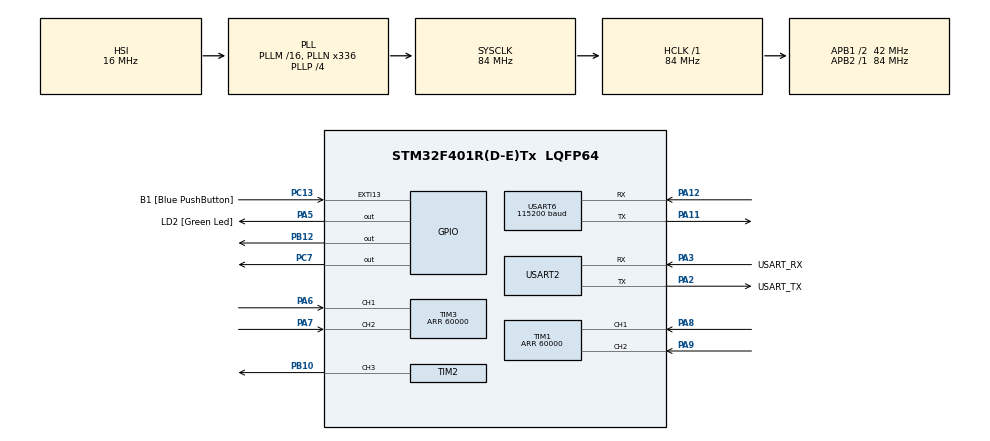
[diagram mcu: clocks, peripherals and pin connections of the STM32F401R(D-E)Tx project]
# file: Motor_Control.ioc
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Dma.Request0=USART2_RX
Dma.Request1=USART6_RX
Dma.USART2_RX.0.Direction=DMA_PERIPH_TO_MEMORY
Dma.USART2_RX.0.FIFOMode=DMA_FIFOMODE_DISABLE
Dma.USART2_RX.0.Instance=DMA1_Stream5
Dma.USART2_RX.0.MemDataAlignment=DMA_MDATAALIGN_BYTE
Dma.USART2_RX.0.MemInc=DMA_MINC_ENABLE
Dma.USART2_RX.0.Mode=DMA_NORMAL
Dma.USART2_RX.0.PeriphDataAlignment=DMA_PDATAALIGN_BYTE
Dma.USART2_RX.0.PeriphInc=DMA_PINC_DISABLE
Dma.USART2_RX.0.Priority=DMA_PRIORITY_LOW
Dma.USART6_RX.1.Direction=DMA_PERIPH_TO_MEMORY
Dma.USART6_RX.1.FIFOMode=DMA_FIFOMODE_DISABLE
Dma.USART6_RX.1.Instance=DMA2_Stream1
Dma.USART6_RX.1.MemDataAlignment=DMA_MDATAALIGN_BYTE
Dma.USART6_RX.1.MemInc=DMA_MINC_ENABLE
Dma.USART6_RX.1.Mode=DMA_CIRCULAR
Dma.USART6_RX.1.PeriphDataAlignment=DMA_PDATAALIGN_BYTE
Dma.USART6_RX.1.PeriphInc=DMA_PINC_DISABLE
Dma.USART6_RX.1.Priority=DMA_PRIORITY_LOW
Mcu.Family=STM32F4
Mcu.Name=STM32F401R(D-E)Tx
Mcu.Package=LQFP64
NVIC.DMA1_Stream5_IRQn=true\:0\:0\:false\:false\:true\:false
NVIC.DMA2_Stream1_IRQn=true\:0\:0\:false\:false\:true\:false
NVIC.EXTI15_10_IRQn=true\:0\:0\:false\:false\:true\:true
NVIC.PriorityGroup=NVIC_PRIORITYGROUP_0
NVIC.TIM1_BRK_TIM9_IRQn=true\:0\:0\:false\:false\:true\:true
NVIC.USART6_IRQn=true\:0\:0\:false\:false\:true\:true
PA11.Mode=Asynchronous
PA11.Signal=USART6_TX
PA12.Mode=Asynchronous
PA12.Signal=USART6_RX
PA13.GPIO_Label=TMS
PA13.Mode=Serial_Wire
PA13.Signal=SYS_JTMS-SWDIO
PA14.GPIO_Label=TCK
PA14.Mode=Serial_Wire
PA14.Signal=SYS_JTCK-SWCLK
PA2.GPIO_Label=USART_TX
PA2.GPIO_Mode=GPIO_MODE_AF_PP
PA2.GPIO_PuPd=GPIO_NOPULL
PA2.GPIO_Speed=GPIO_SPEED_FREQ_LOW
PA2.Mode=Asynchronous
PA2.Signal=USART2_TX
PA3.GPIO_Label=USART_RX
PA3.GPIO_Mode=GPIO_MODE_AF_PP
PA3.GPIO_PuPd=GPIO_NOPULL
PA3.GPIO_Speed=GPIO_SPEED_FREQ_LOW
PA3.Mode=Asynchronous
PA3.Signal=USART2_RX
PA5.GPIO_Label=LD2 [Green Led]
PA5.GPIO_Mode=GPIO_MODE_OUTPUT_PP
PA5.GPIO_PuPd=GPIO_NOPULL
PA5.GPIO_Speed=GPIO_SPEED_FREQ_LOW
PA5.Signal=GPIO_Output
PA6.Signal=S_TIM3_CH1
PA7.Signal=S_TIM3_CH2
PA8.Signal=S_TIM1_CH1
PA9.Signal=S_TIM1_CH2
PB10.Signal=S_TIM2_CH3
PB12.Signal=GPIO_Output
PB3.GPIO_Label=SWO
PB3.Signal=SYS_JTDO-SWO
PC13-ANTI_TAMP.GPIO_Label=B1 [Blue PushButton]
PC13-ANTI_TAMP.GPIO_ModeDefaultEXTI=GPIO_MODE_IT_FALLING
PC13-ANTI_TAMP.GPIO_PuPd=GPIO_NOPULL
PC13-ANTI_TAMP.Signal=GPXTI13
PC14-OSC32_IN.Mode=LSE-External-Oscillator
PC14-OSC32_IN.Signal=RCC_OSC32_IN
PC15-OSC32_OUT.Mode=LSE-External-Oscillator
PC15-OSC32_OUT.Signal=RCC_OSC32_OUT
PC7.Signal=GPIO_Output
PH0\ -\ OSC_IN.Mode=HSE-External-Clock-Source
PH0\ -\ OSC_IN.Signal=RCC_OSC_IN
PH1\ -\ OSC_OUT.Mode=HSE-External-Clock-Source
PH1\ -\ OSC_OUT.Signal=RCC_OSC_OUT
ProjectManager.HeapSize=0x200
ProjectManager.StackSize=0x400
ProjectManager.TargetToolchain=EWARM
RCC.48MHZClocksFreq_Value=48000000
RCC.AHBFreq_Value=84000000
RCC.APB1CLKDivider=RCC_HCLK_DIV2
RCC.APB1Freq_Value=42000000
RCC.APB1TimFreq_Value=84000000
RCC.APB2Freq_Value=84000000
RCC.APB2TimFreq_Value=84000000
RCC.CortexFreq_Value=84000000
RCC.HCLKFreq_Value=84000000
RCC.HSE_VALUE=8000000
RCC.HSI_VALUE=16000000
RCC.PLLN=336
RCC.PLLP=RCC_PLLP_DIV4
RCC.PLLQ=7
RCC.SYSCLKFreq_VALUE=84000000
RCC.SYSCLKSource=RCC_SYSCLKSOURCE_PLLCLK
RCC.VCOOutputFreq_Value=336000000
SH.S_TIM1_CH1.0=TIM1_CH1,Encoder_Interface
SH.S_TIM1_CH2.0=TIM1_CH2,Encoder_Interface
SH.S_TIM2_CH3.0=TIM2_CH3,PWM Generation3 CH3
SH.S_TIM3_CH1.0=TIM3_CH1,Encoder_Interface
SH.S_TIM3_CH2.0=TIM3_CH2,Encoder_Interface
TIM1.EncoderMode=TIM_ENCODERMODE_TI12
TIM1.Period=60000
TIM2.Channel-PWM\ Generation3\ CH3=TIM_CHANNEL_3
TIM2.Period=4200-1
TIM3.EncoderMode=TIM_ENCODERMODE_TI1
TIM3.Period=60000
TIM9.Period=100-1
TIM9.Prescaler=839
USART2.VirtualMode=VM_ASYNC
USART6.BaudRate=115200
USART6.OverSampling=UART_OVERSAMPLING_8
USART6.VirtualMode=VM_ASYNC
VP_TIM9_VS_ClockSourceINT.Mode=Internal
board=NUCLEO-F401RE

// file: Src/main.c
/**
  ******************************************************************************
  * @file           : main.c
  * @brief          : Main program body
  ******************************************************************************
  ** This notice applies to any and all portions of this file
  * that are not between comment pairs USER CODE BEGIN and
  * USER CODE END. Other portions of this file, whether
  * inserted by the user or by software development tools
  * are owned by their respective copyright owners.
  *
  * COPYRIGHT(c) 2020 STMicroelectronics
  *
  * Redistribution and use in source and binary forms, with or without modification,
  * are permitted provided that the following conditions are met:
  *   1. Redistributions of source code must retain the above copyright notice,
  *      this list of conditions and the following disclaimer.
  *   2. Redistributions in binary form must reproduce the above copyright notice,
  *      this list of conditions and the following disclaimer in the documentation
  *      and/or other materials provided with the distribution.
  *   3. Neither the name of STMicroelectronics nor the names of its contributors
  *      may be used to endorse or promote products derived from this software
  *      without specific prior written permission.
  *
  * THIS SOFTWARE IS PROVIDED BY THE COPYRIGHT HOLDERS AND CONTRIBUTORS "AS IS"
  * AND ANY EXPRESS OR IMPLIED WARRANTIES, INCLUDING, BUT NOT LIMITED TO, THE
  * IMPLIED WARRANTIES OF MERCHANTABILITY AND FITNESS FOR A PARTICULAR PURPOSE ARE
  * DISCLAIMED. IN NO EVENT SHALL THE COPYRIGHT HOLDER OR CONTRIBUTORS BE LIABLE
  * FOR ANY DIRECT, INDIRECT, INCIDENTAL, SPECIAL, EXEMPLARY, OR CONSEQUENTIAL
  * DAMAGES (INCLUDING, BUT NOT LIMITED TO, PROCUREMENT OF SUBSTITUTE GOODS OR
  * SERVICES; LOSS OF USE, DATA, OR PROFITS; OR BUSINESS INTERRUPTION) HOWEVER
  * CAUSED AND ON ANY THEORY OF LIABILITY, WHETHER IN CONTRACT, STRICT LIABILITY,
  * OR TORT (INCLUDING NEGLIGENCE OR OTHERWISE) ARISING IN ANY WAY OUT OF THE USE
  * OF THIS SOFTWARE, EVEN IF ADVISED OF THE POSSIBILITY OF SUCH DAMAGE.
  *
  ******************************************************************************
  */
#include "main.h"
#include "stm32f4xx_hal.h"

/* USER CODE BEGIN Includes */
#include "stdio.h"
#include "stdlib.h"
#include "math.h"
#define RX_BUFFER_SIZE 40
#define PI 3.141592
#define MAF_SIZE 20
#define dt 0.01
/* USER CODE END Includes */

TIM_HandleTypeDef htim1;
TIM_HandleTypeDef htim2;
TIM_HandleTypeDef htim3;
TIM_HandleTypeDef htim9;

UART_HandleTypeDef huart2;
UART_HandleTypeDef huart6;
DMA_HandleTypeDef hdma_usart2_rx;
DMA_HandleTypeDef hdma_usart6_rx;

/* USER CODE BEGIN PV */
/* Private variables ---------------------------------------------------------*/
int cnt;
int clock;
uint16_t Motor_CCR;

int32_t motor_encoder1;
int32_t motor_encoder2;
int32_t mencoder1;
int32_t mencoder2;

int32_t rotary_encoder1;
int32_t rotary_encoder2;
int32_t rencoder1;
int32_t rencoder2;

int32_t pre_encoder = 30000;

double a,b,c,d,e;
double angle, angle1;
int iangle, iangle1;
int motor_angle;
double move_angle;
//double control_angle;
int imove_angle;
int Kp = 10;
double Kd = 2;
int dir;
double error, pre_error;
char s1[2];
char s2[2];
uint8_t tx_buffer[];
uint8_t rx_buffer[RX_BUFFER_SIZE];
uint8_t tx_len;

double velo, angu, mov_velo, mov_angu;
int ivelo,iangu,imov_velo, imov_angu;

double alpha = 0.95;

double ccr;
int iccr;

char velocity[8];
char angluar[8];

double dvelocity, dangluar;
int ivelocity, iangluar;
int wow, write_velocity;

int com1, com2, com3, com4;

double g_rawData[MAF_SIZE] = {0,};
double g_SUM_Data = 0;
double g_MAF_Data = 0;
int g_MAF_CNT  = 0;
int ig_MAF;
/* USER CODE END PV */

void SystemClock_Config(void);
static void MX_GPIO_Init(void);
static void MX_DMA_Init(void);
static void MX_USART2_UART_Init(void);
static void MX_TIM9_Init(void);
static void MX_TIM3_Init(void);
static void MX_TIM1_Init(void);
static void MX_TIM2_Init(void);
static void MX_USART6_UART_Init(void);

void HAL_TIM_MspPostInit(TIM_HandleTypeDef *htim);

/* USER CODE BEGIN PFP */
/* Private function prototypes -----------------------------------------------*/

/* USER CODE END PFP */

/* USER CODE BEGIN 0 */
void Motor_Control(int desired_angle)
{
  angle = (4704/360)*desired_angle + 30000;
  iangle = (int)angle;
  error = angle - mencoder1;
  motor_angle = (int)((mencoder1 - 30000)*(360/4704));
  move_angle = Kp*error + Kd*(error - pre_error)/dt;
  imove_angle = (int)move_angle;
  if(move_angle > 0)
  {
    dir = 1;
    Motor_CCR = (uint16_t)(move_angle);
    HAL_GPIO_WritePin(GPIOC, GPIO_PIN_7, GPIO_PIN_SET);
  }
  else
  {
    dir = -1;
    Motor_CCR = -(uint16_t)(move_angle);
    HAL_GPIO_WritePin(GPIOC, GPIO_PIN_7, GPIO_PIN_RESET);
  }
  pre_error = error;
}
/*int another_motor()
{
  double desired_angle = (double)(encoder1-30000)/(414/360);

  return (int)desired_angle;
}*/

void HAL_GPIO_EXTI_Callback(uint16_t GPIO_Pin)
{
  if(GPIO_Pin == GPIO_PIN_13)
  {
    clock++;
    if(clock%2 == 1)
      write_velocity = 54;
    else
      write_velocity = 0;
  }
}

void VelocityR()
{
  //톱니 지름 103mm 제어주기 10ms 10000당 1바퀴
  velo = rencoder1 - 30000; // error값
  velo = (velo/20000)*360*(PI/180); // 각도값
  velo = (velo*(77/2))/dt; // 속도 mm/s
  ivelo = (int)velo;
}

void angluarR()
{
  //톱니 지름 103mm 제어주기 10ms 10000당 1바퀴
  angu = rencoder1 - 30000; // error값
  angu = (angu/20000)*360*(PI/180); // 각도값
  angu = (angu)/dt; // 각속도 rad/s
  iangu = (int)angu;
}

double MAF(double adc)										//Moving Average Filter 함수
{
  g_MAF_CNT = (g_MAF_CNT+1)% MAF_SIZE ;				//CNT값을 MAF_SIZE 크기 만큼 1씩 증가시키기
  g_rawData[g_MAF_CNT] = adc;							//MAF_SIZE 크기 배열에 가변저항 값 저장하기
  g_SUM_Data = 0;
  for(int i=0; i<MAF_SIZE; i++)
    g_SUM_Data += g_rawData[i];						//각 값들을 모두 더하기
  g_MAF_Data = g_SUM_Data / MAF_SIZE;					//MAF_SIZE만큼 나누기
  return g_MAF_Data;
}

/*void VelocityM()
{
  //톱니 지름 103mm 제어주기 10ms 4704당 1바퀴
  mvelo = mencoder1 - 30000; // error값
  mvelo = (mvelo/4704)*360*(PI/180); // 각도값
  mvelo = (mvelo*(77/2))/0.03; // 속도 mm/s
  imvelo = (int)mvelo;
}*/

void VelocityAngle()
{
  HAL_UART_Receive_DMA(&huart6, rx_buffer, RX_BUFFER_SIZE);
  if(rx_buffer[0] != 'x')
  {
    for(int i = 0; i < RX_BUFFER_SIZE - 1; i++)
      rx_buffer[i] = 0;
  }
  for(int i = 0; i < RX_BUFFER_SIZE-1; i++)
  {
    if((rx_buffer[i] == ':')&&(com1 == 0)) com1 = i;
    if((rx_buffer[i] == 'z')&&(com1 != 0)&&(com2 == 0)) com2 = i;
    if((rx_buffer[i] == ':')&&(com1 != 0)&&(com2 != 0)&&(com3 == 0)) com3 = i;
    if((rx_buffer[i] == '\n')&&(com1 != 0)&&(com2 != 0)&&(com3 != 0)&&(com4 == 0)) com4 = i;
  }
  for(int i = com1 + 1; i < com2 ;i++)
    velocity[i - com1 - 1] = rx_buffer[i];
  dvelocity = atof(velocity);
  ivelocity = atoi(velocity);
  for(int i = com3 + 1; i < com4; i++)
    angluar[i - com3 - 1] = rx_buffer[i];
  dangluar = atof(angluar);
  iangluar = atoi(angluar);
  com1 = 0; com2 = 0; com3 = 0; com4 = 0;
}

int followVelocity(int x)
{
  a = -6.572923566*pow(10,-4);
  b = 0.0765157041;
  c = -2.81461746;
  d = 107.2262826;

  ccr = a*pow(x,4) + b*pow(x,3) + c*pow(x,2) + d*x;
  iccr = (int)ccr;

  return iccr;
}

void SpeedControlL()
{

}

void HAL_TIM_PeriodElapsedCallback(TIM_HandleTypeDef *htim)
{
  if(htim == &htim9)
  {
    cnt++;
    TIM2->CCR3 = Motor_CCR;

    //HAL_GPIO_WritePin(GPIOC, GPIO_PIN_6, GPIO_PIN_SET);
    //HAL_GPIO_WritePin(GPIOC, GPIO_PIN_7, GPIO_PIN_SET);

    rotary_encoder1 = TIM1->CNT;

    if(rotary_encoder1 < 30000)
      rencoder1 = 30000 + rotary_encoder1;
    else
      rencoder1 = rotary_encoder1 - 30000;

    if(cnt == 10)
    {
      //Motor_Control(rotary_encoder());

      VelocityR();
      angluarR();
      sprintf(s1, "%d", ivelo);
      for(int i = 0 ; i < 2; i++)
        tx_buffer[i] = s1[i];

      //mov_velo = MAF(velo);
      //imov_velo = (int)mov_velo;

      /*tx_buffer[2] = ',';
      tx_buffer[3] = ' ';
      sprintf(s2, "%d", imov_velo);
      for(int i = 0 ; i < 2; i++)
        tx_buffer[i+4] = s2[i];
      tx_buffer[6] = '\n';*/

      HAL_UART_Transmit(&huart6, tx_buffer,7,HAL_MAX_DELAY);
      //mov_angu = MAF(angu);
      //imov_angu = (int)mov_angu;
      //VelocityM();

      if(velocity > 0){
        HAL_GPIO_WritePin(GPIOC, GPIO_PIN_7, GPIO_PIN_RESET);
        Motor_CCR = followVelocity(write_velocity);
      }
      else{
        HAL_GPIO_WritePin(GPIOC, GPIO_PIN_7, GPIO_PIN_SET);
        Motor_CCR = followVelocity(-write_velocity);
      }

      TIM1->CNT = 0;
      cnt = 0;
    }
  }
}
/* USER CODE END 0 */

int main(void)
{

  /* MCU Configuration----------------------------------------------------------*/

  /* Reset of all peripherals, Initializes the Flash interface and the Systick. */
  HAL_Init();

  /* Configure the system clock */
  SystemClock_Config();

  /* Initialize all configured peripherals */
  MX_GPIO_Init();
  MX_DMA_Init();
  MX_USART2_UART_Init();
  MX_TIM9_Init();
  MX_TIM3_Init();
  MX_TIM1_Init();
  MX_TIM2_Init();
  MX_USART6_UART_Init();
  /* USER CODE BEGIN 2 */
  HAL_TIM_Base_Start_IT(&htim9);

  HAL_TIM_PWM_Start(&htim2, TIM_CHANNEL_3);
  HAL_TIMEx_PWMN_Start(&htim2, TIM_CHANNEL_3);

  HAL_TIM_Encoder_Start(&htim1, TIM_CHANNEL_ALL);

  /* USER CODE END 2 */

  /* Infinite loop */
  while (1)
  {

  }

}

void SystemClock_Config(void)
{

  RCC_OscInitTypeDef RCC_OscInitStruct;
  RCC_ClkInitTypeDef RCC_ClkInitStruct;

    /**Configure the main internal regulator output voltage
    */
  __HAL_RCC_PWR_CLK_ENABLE();

  __HAL_PWR_VOLTAGESCALING_CONFIG(PWR_REGULATOR_VOLTAGE_SCALE2);

    /**Initializes the CPU, AHB and APB busses clocks
    */
  RCC_OscInitStruct.OscillatorType = RCC_OSCILLATORTYPE_HSI;
  RCC_OscInitStruct.HSIState = RCC_HSI_ON;
  RCC_OscInitStruct.HSICalibrationValue = 16;
  RCC_OscInitStruct.PLL.PLLState = RCC_PLL_ON;
  RCC_OscInitStruct.PLL.PLLSource = RCC_PLLSOURCE_HSI;
  RCC_OscInitStruct.PLL.PLLM = 16;
  RCC_OscInitStruct.PLL.PLLN = 336;
  RCC_OscInitStruct.PLL.PLLP = RCC_PLLP_DIV4;
  RCC_OscInitStruct.PLL.PLLQ = 7;
  if (HAL_RCC_OscConfig(&RCC_OscInitStruct) != HAL_OK)
  {
    _Error_Handler(__FILE__, __LINE__);
  }

    /**Initializes the CPU, AHB and APB busses clocks
    */
  RCC_ClkInitStruct.ClockType = RCC_CLOCKTYPE_HCLK|RCC_CLOCKTYPE_SYSCLK
                              |RCC_CLOCKTYPE_PCLK1|RCC_CLOCKTYPE_PCLK2;
  RCC_ClkInitStruct.SYSCLKSource = RCC_SYSCLKSOURCE_PLLCLK;
  RCC_ClkInitStruct.AHBCLKDivider = RCC_SYSCLK_DIV1;
  RCC_ClkInitStruct.APB1CLKDivider = RCC_HCLK_DIV2;
  RCC_ClkInitStruct.APB2CLKDivider = RCC_HCLK_DIV1;

  if (HAL_RCC_ClockConfig(&RCC_ClkInitStruct, FLASH_LATENCY_2) != HAL_OK)
  {
    _Error_Handler(__FILE__, __LINE__);
  }

    /**Configure the Systick interrupt time
    */
  HAL_SYSTICK_Config(HAL_RCC_GetHCLKFreq()/1000);

    /**Configure the Systick
    */
  HAL_SYSTICK_CLKSourceConfig(SYSTICK_CLKSOURCE_HCLK);

  /* SysTick_IRQn interrupt configuration */
  HAL_NVIC_SetPriority(SysTick_IRQn, 0, 0);
}

/* TIM1 init function */
static void MX_TIM1_Init(void)
{

  TIM_Encoder_InitTypeDef sConfig;
  TIM_MasterConfigTypeDef sMasterConfig;

  htim1.Instance = TIM1;
  htim1.Init.Prescaler = 0;
  htim1.Init.CounterMode = TIM_COUNTERMODE_UP;
  htim1.Init.Period = 60000;
  htim1.Init.ClockDivision = TIM_CLOCKDIVISION_DIV1;
  htim1.Init.RepetitionCounter = 0;
  sConfig.EncoderMode = TIM_ENCODERMODE_TI12;
  sConfig.IC1Polarity = TIM_ICPOLARITY_RISING;
  sConfig.IC1Selection = TIM_ICSELECTION_DIRECTTI;
  sConfig.IC1Prescaler = TIM_ICPSC_DIV1;
  sConfig.IC1Filter = 0;
  sConfig.IC2Polarity = TIM_ICPOLARITY_RISING;
  sConfig.IC2Selection = TIM_ICSELECTION_DIRECTTI;
  sConfig.IC2Prescaler = TIM_ICPSC_DIV1;
  sConfig.IC2Filter = 0;
  if (HAL_TIM_Encoder_Init(&htim1, &sConfig) != HAL_OK)
  {
    _Error_Handler(__FILE__, __LINE__);
  }

  sMasterConfig.MasterOutputTrigger = TIM_TRGO_RESET;
  sMasterConfig.MasterSlaveMode = TIM_MASTERSLAVEMODE_DISABLE;
  if (HAL_TIMEx_MasterConfigSynchronization(&htim1, &sMasterConfig) != HAL_OK)
  {
    _Error_Handler(__FILE__, __LINE__);
  }

}

/* TIM2 init function */
static void MX_TIM2_Init(void)
{

  TIM_MasterConfigTypeDef sMasterConfig;
  TIM_OC_InitTypeDef sConfigOC;

  htim2.Instance = TIM2;
  htim2.Init.Prescaler = 0;
  htim2.Init.CounterMode = TIM_COUNTERMODE_UP;
  htim2.Init.Period = 4200-1;
  htim2.Init.ClockDivision = TIM_CLOCKDIVISION_DIV1;
  if (HAL_TIM_PWM_Init(&htim2) != HAL_OK)
  {
    _Error_Handler(__FILE__, __LINE__);
  }

  sMasterConfig.MasterOutputTrigger = TIM_TRGO_RESET;
  sMasterConfig.MasterSlaveMode = TIM_MASTERSLAVEMODE_DISABLE;
  if (HAL_TIMEx_MasterConfigSynchronization(&htim2, &sMasterConfig) != HAL_OK)
  {
    _Error_Handler(__FILE__, __LINE__);
  }

  sConfigOC.OCMode = TIM_OCMODE_PWM1;
  sConfigOC.Pulse = 0;
  sConfigOC.OCPolarity = TIM_OCPOLARITY_HIGH;
  sConfigOC.OCFastMode = TIM_OCFAST_DISABLE;
  if (HAL_TIM_PWM_ConfigChannel(&htim2, &sConfigOC, TIM_CHANNEL_3) != HAL_OK)
  {
    _Error_Handler(__FILE__, __LINE__);
  }

  HAL_TIM_MspPostInit(&htim2);

}

/* TIM3 init function */
static void MX_TIM3_Init(void)
{

  TIM_Encoder_InitTypeDef sConfig;
  TIM_MasterConfigTypeDef sMasterConfig;

  htim3.Instance = TIM3;
  htim3.Init.Prescaler = 0;
  htim3.Init.CounterMode = TIM_COUNTERMODE_UP;
  htim3.Init.Period = 60000;
  htim3.Init.ClockDivision = TIM_CLOCKDIVISION_DIV1;
  sConfig.EncoderMode = TIM_ENCODERMODE_TI1;
  sConfig.IC1Polarity = TIM_ICPOLARITY_RISING;
  sConfig.IC1Selection = TIM_ICSELECTION_DIRECTTI;
  sConfig.IC1Prescaler = TIM_ICPSC_DIV1;
  sConfig.IC1Filter = 0;
  sConfig.IC2Polarity = TIM_ICPOLARITY_RISING;
  sConfig.IC2Selection = TIM_ICSELECTION_DIRECTTI;
  sConfig.IC2Prescaler = TIM_ICPSC_DIV1;
  sConfig.IC2Filter = 0;
  if (HAL_TIM_Encoder_Init(&htim3, &sConfig) != HAL_OK)
  {
    _Error_Handler(__FILE__, __LINE__);
  }

  sMasterConfig.MasterOutputTrigger = TIM_TRGO_RESET;
  sMasterConfig.MasterSlaveMode = TIM_MASTERSLAVEMODE_DISABLE;
  if (HAL_TIMEx_MasterConfigSynchronization(&htim3, &sMasterConfig) != HAL_OK)
  {
    _Error_Handler(__FILE__, __LINE__);
  }

}

/* TIM9 init function */
static void MX_TIM9_Init(void)
{

  TIM_ClockConfigTypeDef sClockSourceConfig;

  htim9.Instance = TIM9;
  htim9.Init.Prescaler = 839;
  htim9.Init.CounterMode = TIM_COUNTERMODE_UP;
  htim9.Init.Period = 100-1;
  htim9.Init.ClockDivision = TIM_CLOCKDIVISION_DIV1;
  if (HAL_TIM_Base_Init(&htim9) != HAL_OK)
  {
    _Error_Handler(__FILE__, __LINE__);
  }

  sClockSourceConfig.ClockSource = TIM_CLOCKSOURCE_INTERNAL;
  if (HAL_TIM_ConfigClockSource(&htim9, &sClockSourceConfig) != HAL_OK)
  {
    _Error_Handler(__FILE__, __LINE__);
  }

}

/* USART2 init function */
static void MX_USART2_UART_Init(void)
{

  huart2.Instance = USART2;
  huart2.Init.BaudRate = 115200;
  huart2.Init.WordLength = UART_WORDLENGTH_8B;
  huart2.Init.StopBits = UART_STOPBITS_1;
  huart2.Init.Parity = UART_PARITY_NONE;
  huart2.Init.Mode = UART_MODE_TX_RX;
  huart2.Init.HwFlowCtl = UART_HWCONTROL_NONE;
  huart2.Init.OverSampling = UART_OVERSAMPLING_16;
  if (HAL_UART_Init(&huart2) != HAL_OK)
  {
    _Error_Handler(__FILE__, __LINE__);
  }

}

/* USART6 init function */
static void MX_USART6_UART_Init(void)
{

  huart6.Instance = USART6;
  huart6.Init.BaudRate = 115200;
  huart6.Init.WordLength = UART_WORDLENGTH_8B;
  huart6.Init.StopBits = UART_STOPBITS_1;
  huart6.Init.Parity = UART_PARITY_NONE;
  huart6.Init.Mode = UART_MODE_TX_RX;
  huart6.Init.HwFlowCtl = UART_HWCONTROL_NONE;
  huart6.Init.OverSampling = UART_OVERSAMPLING_8;
  if (HAL_UART_Init(&huart6) != HAL_OK)
  {
    _Error_Handler(__FILE__, __LINE__);
  }

}

static void MX_DMA_Init(void)
{
  /* DMA controller clock enable */
  __HAL_RCC_DMA1_CLK_ENABLE();
  __HAL_RCC_DMA2_CLK_ENABLE();

  /* DMA interrupt init */
  /* DMA1_Stream5_IRQn interrupt configuration */
  HAL_NVIC_SetPriority(DMA1_Stream5_IRQn, 0, 0);
  HAL_NVIC_EnableIRQ(DMA1_Stream5_IRQn);
  /* DMA2_Stream1_IRQn interrupt configuration */
  HAL_NVIC_SetPriority(DMA2_Stream1_IRQn, 0, 0);
  HAL_NVIC_EnableIRQ(DMA2_Stream1_IRQn);

}

/** Configure pins as
        * Analog
        * Input
        * Output
        * EVENT_OUT
        * EXTI
*/
static void MX_GPIO_Init(void)
{

  GPIO_InitTypeDef GPIO_InitStruct;

  /* GPIO Ports Clock Enable */
  __HAL_RCC_GPIOC_CLK_ENABLE();
  __HAL_RCC_GPIOH_CLK_ENABLE();
  __HAL_RCC_GPIOA_CLK_ENABLE();
  __HAL_RCC_GPIOB_CLK_ENABLE();

  /*Configure GPIO pin Output Level */
  HAL_GPIO_WritePin(LD2_GPIO_Port, LD2_Pin, GPIO_PIN_RESET);

  /*Configure GPIO pin Output Level */
  HAL_GPIO_WritePin(GPIOB, GPIO_PIN_12, GPIO_PIN_RESET);

  /*Configure GPIO pin Output Level */
  HAL_GPIO_WritePin(GPIOC, GPIO_PIN_7, GPIO_PIN_RESET);

  /*Configure GPIO pin : B1_Pin */
  GPIO_InitStruct.Pin = B1_Pin;
  GPIO_InitStruct.Mode = GPIO_MODE_IT_FALLING;
  GPIO_InitStruct.Pull = GPIO_NOPULL;
  HAL_GPIO_Init(B1_GPIO_Port, &GPIO_InitStruct);

  /*Configure GPIO pin : LD2_Pin */
  GPIO_InitStruct.Pin = LD2_Pin;
  GPIO_InitStruct.Mode = GPIO_MODE_OUTPUT_PP;
  GPIO_InitStruct.Pull = GPIO_NOPULL;
  GPIO_InitStruct.Speed = GPIO_SPEED_FREQ_LOW;
  HAL_GPIO_Init(LD2_GPIO_Port, &GPIO_InitStruct);

  /*Configure GPIO pin : PB12 */
  GPIO_InitStruct.Pin = GPIO_PIN_12;
  GPIO_InitStruct.Mode = GPIO_MODE_OUTPUT_PP;
  GPIO_InitStruct.Pull = GPIO_NOPULL;
  GPIO_InitStruct.Speed = GPIO_SPEED_FREQ_LOW;
  HAL_GPIO_Init(GPIOB, &GPIO_InitStruct);

  /*Configure GPIO pin : PC7 */
  GPIO_InitStruct.Pin = GPIO_PIN_7;
  GPIO_InitStruct.Mode = GPIO_MODE_OUTPUT_PP;
  GPIO_InitStruct.Pull = GPIO_NOPULL;
  GPIO_InitStruct.Speed = GPIO_SPEED_FREQ_LOW;
  HAL_GPIO_Init(GPIOC, &GPIO_InitStruct);

  /* EXTI interrupt init*/
  HAL_NVIC_SetPriority(EXTI15_10_IRQn, 0, 0);
  HAL_NVIC_EnableIRQ(EXTI15_10_IRQn);

}

void _Error_Handler(char *file, int line)
{
  while(1)
  {
  }
}

/************************ (C) COPYRIGHT STMicroelectronics *****END OF FILE****/
